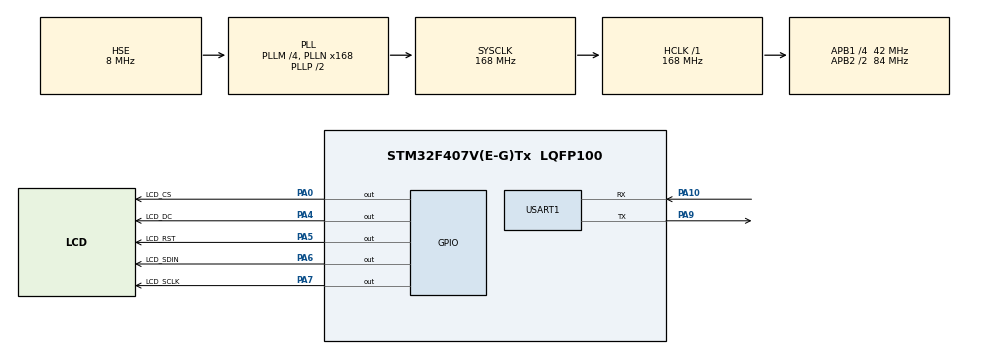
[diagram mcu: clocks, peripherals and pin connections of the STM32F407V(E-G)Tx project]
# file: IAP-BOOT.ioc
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Mcu.Family=STM32F4
Mcu.Name=STM32F407V(E-G)Tx
Mcu.Package=LQFP100
NVIC.PriorityGroup=NVIC_PRIORITYGROUP_4
PA0-WKUP.GPIO_Label=LCD_CS
PA0-WKUP.GPIO_Speed=GPIO_SPEED_FREQ_HIGH
PA0-WKUP.Signal=GPIO_Output
PA10.Mode=Asynchronous
PA10.Signal=USART1_RX
PA13.Mode=Serial_Wire
PA13.Signal=SYS_JTMS-SWDIO
PA14.Mode=Serial_Wire
PA14.Signal=SYS_JTCK-SWCLK
PA4.GPIO_Label=LCD_DC
PA4.GPIO_Speed=GPIO_SPEED_FREQ_HIGH
PA4.Signal=GPIO_Output
PA5.GPIO_Label=LCD_RST
PA5.GPIO_Speed=GPIO_SPEED_FREQ_HIGH
PA5.Signal=GPIO_Output
PA6.GPIO_Label=LCD_SDIN
PA6.GPIO_Speed=GPIO_SPEED_FREQ_HIGH
PA6.Signal=GPIO_Output
PA7.GPIO_Label=LCD_SCLK
PA7.GPIO_Speed=GPIO_SPEED_FREQ_HIGH
PA7.Signal=GPIO_Output
PA9.Mode=Asynchronous
PA9.Signal=USART1_TX
PH0-OSC_IN.Mode=HSE-External-Oscillator
PH0-OSC_IN.Signal=RCC_OSC_IN
PH1-OSC_OUT.Mode=HSE-External-Oscillator
PH1-OSC_OUT.Signal=RCC_OSC_OUT
ProjectManager.HeapSize=0x200
ProjectManager.StackSize=0x400
ProjectManager.TargetToolchain=MDK-ARM V5
RCC.48MHZClocksFreq_Value=84000000
RCC.AHBFreq_Value=168000000
RCC.APB1CLKDivider=RCC_HCLK_DIV4
RCC.APB1Freq_Value=42000000
RCC.APB1TimFreq_Value=84000000
RCC.APB2CLKDivider=RCC_HCLK_DIV2
RCC.APB2Freq_Value=84000000
RCC.APB2TimFreq_Value=168000000
RCC.CortexFreq_Value=168000000
RCC.HCLKFreq_Value=168000000
RCC.HSE_VALUE=8000000
RCC.HSI_VALUE=16000000
RCC.LSE_VALUE=32768
RCC.PLLM=4
RCC.PLLN=168
RCC.PLLSourceVirtual=RCC_PLLSOURCE_HSE
RCC.SYSCLKFreq_VALUE=168000000
RCC.SYSCLKSource=RCC_SYSCLKSOURCE_PLLCLK
RCC.VCOOutputFreq_Value=336000000
USART1.VirtualMode=VM_ASYNC
VP_RTC_VS_RTC_Activate.Mode=RTC_Enabled
board=custom

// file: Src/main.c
/* USER CODE BEGIN Header */
/**
  ******************************************************************************
  * @file           : main.c
  * @brief          : Main program body
  ******************************************************************************
  * @attention
  *
  * <h2><center>&copy; Copyright (c) 2019 STMicroelectronics.
  * All rights reserved.</center></h2>
  *
  * This software component is licensed by ST under BSD 3-Clause license,
  * the "License"; You may not use this file except in compliance with the
  * License. You may obtain a copy of the License at:
  *                        opensource.org/licenses/BSD-3-Clause
  *
  ******************************************************************************
  */
/* USER CODE END Header */

#include "main.h"

/* USER CODE BEGIN Includes */
#include "LCD.h"
#include <stdio.h>
#include <stdarg.h>
#include "iap_config.h"
#include "common.h"
#include "iap.h"
/* USER CODE END Includes */

RTC_HandleTypeDef hrtc;

UART_HandleTypeDef huart1;

void SystemClock_Config(void);
static void MX_GPIO_Init(void);
static void MX_USART1_UART_Init(void);
static void MX_RTC_Init(void);
/* USER CODE BEGIN PFP */
signed int OLED_printf(uint16_t color,const char *pFormat, ...);
void BKP_SRAM_Init(void);
/* USER CODE END PFP */

/* USER CODE BEGIN 0 */
extern uint32_t FlashDestination; /* Flash user program offset */
/* USER CODE END 0 */

int main(void)
{
  /* USER CODE BEGIN 1 */
	//工程文件同目录生成BIN文件
	//$K\ARM\ARMCC\bin\fromelf.exe --bin --output=@L.bin !L
  /* USER CODE END 1 */

  /* MCU Configuration--------------------------------------------------------*/

  /* Reset of all peripherals, Initializes the Flash interface and the Systick. */
  HAL_Init();

  /* Configure the system clock */
  SystemClock_Config();

  /* Initialize all configured peripherals */
  MX_GPIO_Init();
  MX_USART1_UART_Init();
  MX_RTC_Init();
  /* USER CODE BEGIN 2 */
	Lcd_Init();
	LCD_Clear(BLACK); //清屏
	BACK_COLOR=BLACK;
	BKP_SRAM_Init();
	OLED_printf(GREEN,"Hello World!\n");
	OLED_printf(WHITE,"IAP-APP run OK!\n");
  /* USER CODE END 2 */

  /* Infinite loop */
  /* USER CODE BEGIN WHILE */

	//HAL_RTCEx_BKUPWrite(&hrtc,RTC_BKP_DR0, UPDATE_FLAG_DATA);
  while (1)
  {
    /* USER CODE END WHILE */

    /* USER CODE BEGIN 3 */

		//LCD_Clear(WHITE);
  }
  /* USER CODE END 3 */
}

void SystemClock_Config(void)
{
  RCC_OscInitTypeDef RCC_OscInitStruct = {0};
  RCC_ClkInitTypeDef RCC_ClkInitStruct = {0};
  RCC_PeriphCLKInitTypeDef PeriphClkInitStruct = {0};

  /** Configure the main internal regulator output voltage
  */
  __HAL_RCC_PWR_CLK_ENABLE();
  __HAL_PWR_VOLTAGESCALING_CONFIG(PWR_REGULATOR_VOLTAGE_SCALE1);
  /** Initializes the CPU, AHB and APB busses clocks
  */
  RCC_OscInitStruct.OscillatorType = RCC_OSCILLATORTYPE_LSI|RCC_OSCILLATORTYPE_HSE;
  RCC_OscInitStruct.HSEState = RCC_HSE_ON;
  RCC_OscInitStruct.LSIState = RCC_LSI_ON;
  RCC_OscInitStruct.PLL.PLLState = RCC_PLL_ON;
  RCC_OscInitStruct.PLL.PLLSource = RCC_PLLSOURCE_HSE;
  RCC_OscInitStruct.PLL.PLLM = 4;
  RCC_OscInitStruct.PLL.PLLN = 168;
  RCC_OscInitStruct.PLL.PLLP = RCC_PLLP_DIV2;
  RCC_OscInitStruct.PLL.PLLQ = 4;
  if (HAL_RCC_OscConfig(&RCC_OscInitStruct) != HAL_OK)
  {
    Error_Handler();
  }
  /** Initializes the CPU, AHB and APB busses clocks
  */
  RCC_ClkInitStruct.ClockType = RCC_CLOCKTYPE_HCLK|RCC_CLOCKTYPE_SYSCLK
                              |RCC_CLOCKTYPE_PCLK1|RCC_CLOCKTYPE_PCLK2;
  RCC_ClkInitStruct.SYSCLKSource = RCC_SYSCLKSOURCE_PLLCLK;
  RCC_ClkInitStruct.AHBCLKDivider = RCC_SYSCLK_DIV1;
  RCC_ClkInitStruct.APB1CLKDivider = RCC_HCLK_DIV4;
  RCC_ClkInitStruct.APB2CLKDivider = RCC_HCLK_DIV2;

  if (HAL_RCC_ClockConfig(&RCC_ClkInitStruct, FLASH_LATENCY_5) != HAL_OK)
  {
    Error_Handler();
  }
  PeriphClkInitStruct.PeriphClockSelection = RCC_PERIPHCLK_RTC;
  PeriphClkInitStruct.RTCClockSelection = RCC_RTCCLKSOURCE_LSI;
  if (HAL_RCCEx_PeriphCLKConfig(&PeriphClkInitStruct) != HAL_OK)
  {
    Error_Handler();
  }
}

static void MX_RTC_Init(void)
{

  /** Initialize RTC Only
  */
  hrtc.Instance = RTC;
  hrtc.Init.HourFormat = RTC_HOURFORMAT_24;
  hrtc.Init.AsynchPrediv = 127;
  hrtc.Init.SynchPrediv = 255;
  hrtc.Init.OutPut = RTC_OUTPUT_DISABLE;
  hrtc.Init.OutPutPolarity = RTC_OUTPUT_POLARITY_HIGH;
  hrtc.Init.OutPutType = RTC_OUTPUT_TYPE_OPENDRAIN;
  if (HAL_RTC_Init(&hrtc) != HAL_OK)
  {
    Error_Handler();
  }

}

static void MX_USART1_UART_Init(void)
{

  huart1.Instance = USART1;
  huart1.Init.BaudRate = 115200;
  huart1.Init.WordLength = UART_WORDLENGTH_8B;
  huart1.Init.StopBits = UART_STOPBITS_1;
  huart1.Init.Parity = UART_PARITY_NONE;
  huart1.Init.Mode = UART_MODE_TX_RX;
  huart1.Init.HwFlowCtl = UART_HWCONTROL_NONE;
  huart1.Init.OverSampling = UART_OVERSAMPLING_16;
  if (HAL_UART_Init(&huart1) != HAL_OK)
  {
    Error_Handler();
  }

}

static void MX_GPIO_Init(void)
{
  GPIO_InitTypeDef GPIO_InitStruct = {0};

  /* GPIO Ports Clock Enable */
  __HAL_RCC_GPIOH_CLK_ENABLE();
  __HAL_RCC_GPIOA_CLK_ENABLE();

  /*Configure GPIO pin Output Level */
  HAL_GPIO_WritePin(GPIOA, LCD_CS_Pin|LCD_DC_Pin|LCD_RST_Pin|LCD_SDIN_Pin
                          |LCD_SCLK_Pin, GPIO_PIN_RESET);

  /*Configure GPIO pins : LCD_CS_Pin LCD_DC_Pin LCD_RST_Pin LCD_SDIN_Pin
                           LCD_SCLK_Pin */
  GPIO_InitStruct.Pin = LCD_CS_Pin|LCD_DC_Pin|LCD_RST_Pin|LCD_SDIN_Pin
                          |LCD_SCLK_Pin;
  GPIO_InitStruct.Mode = GPIO_MODE_OUTPUT_PP;
  GPIO_InitStruct.Pull = GPIO_NOPULL;
  GPIO_InitStruct.Speed = GPIO_SPEED_FREQ_HIGH;
  HAL_GPIO_Init(GPIOA, &GPIO_InitStruct);

}

/* USER CODE BEGIN 4 */
signed int OLED_printf(uint16_t color,const char *pFormat, ...)
{
	static uint8_t x = 0, y = 0;
	char pStr[250] = {'\0'};
	va_list ap;
	signed int result;
	uint8_t i = 0;

	// Forward call to vprintf
  va_start(ap, pFormat);
  result = vsprintf((char *)pStr, pFormat, ap);
  va_end(ap);

	while((i<=48) && (pStr[i] != '\0'))
	{
		if(pStr[i] == '\n')
		{
			x = 0;
			y += 16;
			LCD_Clear_One_Line(y,BLACK);
			if(y > (LCD_H-16))
			{
				y = 0;
				x = 0;
				LCD_Clear_One_Line(y,BLACK);
				//LCD_Clear(WHITE);
			}
			i++;
		}
		else
		{
			if( (x+8) > (LCD_W-8))
			{
				y += 16;
				x = 0;
				LCD_Clear_One_Line(y,BLACK);
				if(y > (LCD_H-16))
				{
					y = 0;
					x = 0;
					LCD_Clear_One_Line(y,BLACK);
					//LCD_Clear(WHITE);
				}
				LCD_ShowChar(x,y,pStr[i],0,color);
				i++;
				x+=8;
			}
			else
			{
				LCD_ShowChar(x,y,pStr[i],0,color);
				i++;
				x+=8;
			}
		 }
	}
  return result;
}

/** （使用HAL库）备份SRAM初始化
 *
 * @param[in]   NULL
 * @retval      Null
**/
void BKP_SRAM_Init(void)
{
	/* 电源接口时钟使能 (Power interface clock enable) */
	__HAL_RCC_PWR_CLK_ENABLE();

	/* DBP 位置 1，使能对备份域的访问 */
	HAL_PWR_EnableBkUpAccess();

	/* 通过将 RCC AHB1 外设时钟使能寄存器 (RCC_AHB1ENR) 中的 BKPSRAMEN 位置 1， 使能备份 SRAM 时钟 */
	__HAL_RCC_BKPSRAM_CLK_ENABLE();

	/* 应用程序必须等待备份调压器就绪标志 (BRR) 置 1，指示在待机模式和 VBAT 模式下会保持写入 RAM 中的数据。 */
	HAL_PWREx_EnableBkUpReg();
}

/* USER CODE END 4 */

void Error_Handler(void)
{
}

/************************ (C) COPYRIGHT STMicroelectronics *****END OF FILE****/
